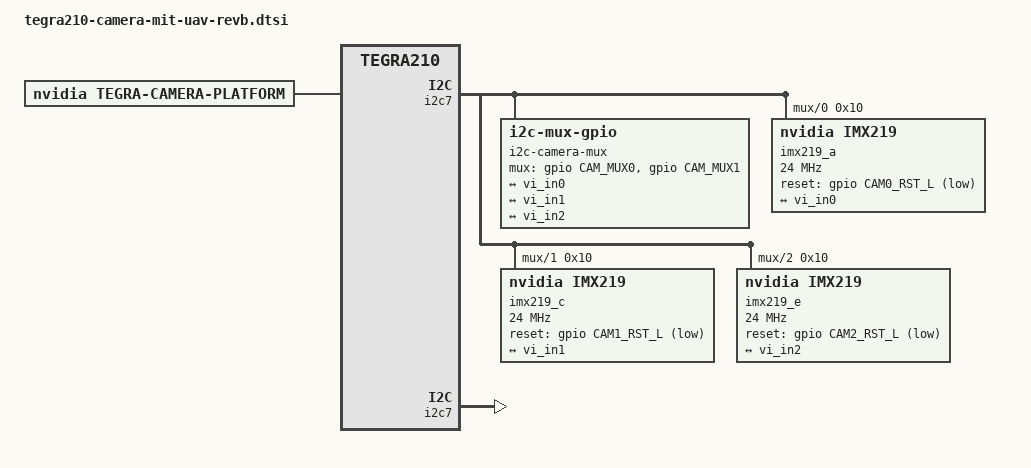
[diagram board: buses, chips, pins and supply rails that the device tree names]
/*
 * Copyright (c) 2015-2016, NVIDIA CORPORATION.  All rights reserved.
 *
 * This program is free software; you can redistribute it and/or modify
 * it under the terms of the GNU General Public License as published by
 * the Free Software Foundation; either version 2 of the License, or
 * (at your option) any later version.
 *
 * This program is distributed in the hope that it will be useful, but WITHOUT
 * ANY WARRANTY; without even the implied warranty of MERCHANTABILITY or
 * FITNESS FOR A PARTICULAR PURPOSE.  See the GNU General Public License for
 * more details.
 *
 * You should have received a copy of the GNU General Public License
 * along with this program.  If not, see <http://www.gnu.org/licenses/>.
 */

#include <dt-bindings/media/camera.h>
#include <dt-bindings/platform/t210/t210.h>

#define GANG_MODE_L_R 1
#define GANG_MODE_T_B 2
#define GANG_MODE_R_L 3
#define GANG_MODE_B_T 4

#define CAM0_RST_L  TEGRA_GPIO(S, 7)
#define CAM1_RST_L  TEGRA_GPIO(T, 0)
#define CAM2_RST_L  TEGRA_GPIO(S, 4)

#define CAM_MUX0    TEGRA_GPIO(T, 1)
#define CAM_MUX1    TEGRA_GPIO(S, 6)

//GPIOs
/ {
  /* set camera gpio direction to output */
  gpio: gpio@6000d000 {
    camera-control {
      gpio-output-low = <
                        CAM0_RST_L
                        CAM1_RST_L
                        CAM2_RST_L
                        CAM_MUX0
                        CAM_MUX1
                        >;
    };
  };
};


/ {
  host1x {
    vi_base: vi {
      num-channels = <3>;
      ports {
        #address-cells = <1>;
        #size-cells = <0>;
        vi_port0: port@0 {
          status = "okay";
          reg = <0>;
          vi_in0: endpoint {
            status = "okay";
            csi-port = <0>;
            bus-width = <2>;
            remote-endpoint = <&imx219_out0>;
          };
        };
        vi_port1: port@1 {
          status = "okay";
          reg = <1>;
          vi_in1: endpoint {
            status = "okay";
            csi-port = <2>;
            bus-width = <2>;
            remote-endpoint = <&imx219_out1>;
          };
        };
        vi_port2: port@2 {
          status = "okay";
          reg = <2>;
          vi_in2: endpoint {
            status = "okay";
            csi-port = <4>;
            bus-width = <2>;
            remote-endpoint = <&imx219_out2>;
          };
        };
      };
    };

    i2c-camera-mux {
			status = "okay";
      compatible = "i2c-mux-gpio";
      #address-cells = <1>;
	    #size-cells = <0>;
      mux-gpios     = < &gpio CAM_MUX0 GPIO_ACTIVE_HIGH
                        &gpio CAM_MUX1 GPIO_ACTIVE_HIGH>;
      //i2c-parent = <&i2c@546c0000>;
      i2c-parent = <&i2c7>;
      i2c@0 {
        status = "okay";
        reg = <0>;
        #address-cells = <1>;
        #size-cells = <0>;
        imx219_a@10 {
          compatible = "nvidia,imx219";
          devnode="video0";
          // I2C Device Address
          reg = <0x10>;
          reset-gpios = <&gpio CAM0_RST_L GPIO_ACTIVE_LOW>;

          //Physical Dimenstion of sensor
          physical_w = "5.095";
          physical_h = "4.930";

          //Sensor Model
          sensor_model ="imx219";

          //avdd-reg = "vana";
          //iovdd-reg = "vif";
          //dvdd-reg = "vdig";
          clocks = <&tegra_car TEGRA210_CLK_ID_CLK_OUT_3>;
          clock-names = "mclk";
          clock-frequency = <24000000>;
          mclk = "cam_mclk1";

          post_crop_frame_drop = "0";

          mode0 { // IMX219_MODE_1920X1080
            mclk_khz = "24000";
            mclk_multiplier = "25";
            //pix_clk_hz = "182400000";
            pix_clk_hz = "170000000";

            num_lanes = "2";
            tegra_sinterface = "serial_a";
            discontinuous_clk = "yes";
            cil_settletime = "0";
            pixel_t = "bayer_rggb";
            readout_orientation = "90";
            inherent_gain = "1";

            active_w = "1920";
            active_h = "1080";

            line_length = "3448";
            dpcm_enable = "false";

            min_gain_val = "1";
            max_gain_val = "16";
            min_hdr_ratio = "1";
            max_hdr_ratio = "64";
            min_framerate = "1";
            max_framerate = "30";
            min_exp_time = "13";
            max_exp_time = "683709";
            //embedded_metadata_height = "2";
          };
          mode1 { // IMX219_MODE_1280X720
            mclk_khz = "24000";
            mclk_multiplier = "25";
            pix_clk_hz = "170000000";

            num_lanes = "2";
            tegra_sinterface = "serial_a";
            discontinuous_clk = "yes";
            cil_settletime = "0";
            pixel_t = "bayer_rggb";
            readout_orientation = "90";
            inherent_gain = "1";

            active_w = "1280";
            active_h = "720";

            line_length = "3448";
            dpcm_enable = "false";
            //line_length = "1752";
            min_gain_val = "1";
            max_gain_val = "16";
            min_hdr_ratio = "1";
            max_hdr_ratio = "64";
            min_framerate = "1";
            max_framerate = "60";
            //min_exp_time = "16";
            min_exp_time = "13";
            max_exp_time = "683709";
            //embedded_metadata_height = "2";
          };
          mode2 { // IMX219_MODE_640X480

            //mclk_khz = "47000";
            mclk_khz = "24000";
            mclk_multiplier = "17.0";
            //pix_clk_hz = "182400000";
            pix_clk_hz = "170000000";

            num_lanes = "2";
            tegra_sinterface = "serial_a";
            discontinuous_clk = "yes";
            cil_settletime = "0";
            pixel_t = "bayer_rggb";
            readout_orientation = "90";
            inherent_gain = "0";

            active_w = "640";
            active_h = "480";

            //line_length = "752";
            //line_length = "1752";
            line_length = "3448";
            //line_length = "3559";
            dpcm_enable = "false";
            min_gain_val = "1";
            max_gain_val = "16";
            min_hdr_ratio = "1";
            max_hdr_ratio = "64";
            min_framerate = "1";
            max_framerate = "90";
            min_exp_time = "22";
					  max_exp_time = "358733";
            //embedded_metadata_height = "2";
          };

          ports {
            #address-cells = <1>;
            #size-cells = <0>;

            port@0 {
              reg = <0>;
              imx219_out0: endpoint {
                csi-port = <0>;
                bus-width = <2>;
                remote-endpoint = <&vi_in0>;
              };
            };
          };
        };
      };
      i2c@1 {
        status = "okay";
        reg = <1>;
        #address-cells = <1>;
        #size-cells = <0>;
        imx219_c@10 {
          compatible = "nvidia,imx219";
          devnode="video1";
          // I2C Device Address
          reg = <0x10>;
          reset-gpios = <&gpio CAM1_RST_L GPIO_ACTIVE_LOW>;

          //Physical Dimenstion of sensor
          physical_w = "5.095";
          physical_h = "4.930";

          //Sensor Model
          sensor_model ="imx219";

          //avdd-reg = "vana";
          //iovdd-reg = "vif";
          //dvdd-reg = "vdig";
          clocks = <&tegra_car TEGRA210_CLK_ID_CLK_OUT_3>;
				  clock-names = "mclk";
          clock-frequency = <24000000>;
          mclk = "cam_mclk1";

          post_crop_frame_drop = "0";

          mode0 { // IMX219_MODE_1920X1080
            mclk_khz = "24000";
            mclk_multiplier = "25";
            //pix_clk_hz = "182400000";
            pix_clk_hz = "170000000";

            num_lanes = "2";
            tegra_sinterface = "serial_c";
            discontinuous_clk = "yes";
            cil_settletime = "0";
            pixel_t = "bayer_rggb";
            readout_orientation = "270";
            inherent_gain = "1";

            active_w = "1920";
            active_h = "1080";

            line_length = "3448";
            dpcm_enable = "false";
            min_gain_val = "1";
            max_gain_val = "16";
            min_hdr_ratio = "1";
            max_hdr_ratio = "64";
            min_framerate = "1";
            max_framerate = "30";
            min_exp_time = "13";
            max_exp_time = "683709";
            //embedded_metadata_height = "2";
          };
          mode1 { // IMX219_MODE_1280X720
            mclk_khz = "24000";
            mclk_multiplier = "25";
            pix_clk_hz = "170000000";

            num_lanes = "2";
            tegra_sinterface = "serial_c";
            discontinuous_clk = "yes";
            cil_settletime = "0";
            pixel_t = "bayer_rggb";
            readout_orientation = "270";
            inherent_gain = "1";

            active_w = "1280";
            active_h = "720";

            line_length = "3448";
            dpcm_enable = "false";
            //line_length = "1752";
            min_gain_val = "1";
            max_gain_val = "16";
            min_hdr_ratio = "1";
            max_hdr_ratio = "64";
            min_framerate = "1";
            max_framerate = "60";
            //min_exp_time = "16";
            min_exp_time = "13";
            max_exp_time = "683709";
            //embedded_metadata_height = "2";
          };
          mode2 { // IMX219_MODE_640X480

            //mclk_khz = "47000";
            mclk_khz = "24000";
            mclk_multiplier = "17.0";
            //pix_clk_hz = "182400000";
            pix_clk_hz = "170000000";

            num_lanes = "2";
            tegra_sinterface = "serial_c";
            discontinuous_clk = "yes";
            cil_settletime = "0";
            pixel_t = "bayer_rggb";
            readout_orientation = "270";
            inherent_gain = "0";

            active_w = "640";
            active_h = "480";

            //line_length = "752";
            //line_length = "1752";
            line_length = "3448";
            //line_length = "3559";
            dpcm_enable = "false";
            min_gain_val = "1";
            max_gain_val = "16";
            min_hdr_ratio = "1";
            max_hdr_ratio = "64";
            min_framerate = "1";
            max_framerate = "90";
            min_exp_time = "22";
					  max_exp_time = "358733";
            //embedded_metadata_height = "2";
          };

          ports {
            #address-cells = <1>;
            #size-cells = <0>;

            port@0 {
              reg = <0>;
              imx219_out1: endpoint {
                csi-port = <2>;
                bus-width = <2>;
                remote-endpoint = <&vi_in1>;
              };
            };
          };
        };
      };
      i2c@2 {
        status = "okay";
        reg = <2>;
        #address-cells = <1>;
        #size-cells = <0>;
        imx219_e@10 {
          compatible = "nvidia,imx219";
          devnode="video2";
          // I2C Device Address
          reg = <0x10>;
          reset-gpios = <&gpio CAM2_RST_L GPIO_ACTIVE_LOW>;

          //Physical Dimenstion of sensor
          physical_w = "5.095";
          physical_h = "4.930";

          //Sensor Model
          sensor_model ="imx219";

          //avdd-reg = "vana";
          //iovdd-reg = "vif";
          //dvdd-reg = "vdig";
          clocks = <&tegra_car TEGRA210_CLK_ID_CLK_OUT_3>;
				  clock-names = "mclk";
          clock-frequency = <24000000>;
          mclk = "cam_mclk1";

          post_crop_frame_drop = "0";

          mode0 { // IMX219_MODE_1920X1080
            mclk_khz = "24000";
            mclk_multiplier = "25";
            //pix_clk_hz = "182400000";
            pix_clk_hz = "170000000";

            num_lanes = "2";
            tegra_sinterface = "serial_e";
            discontinuous_clk = "yes";
            cil_settletime = "0";
            pixel_t = "bayer_rggb";
            readout_orientation = "270";
            inherent_gain = "1";

            active_w = "1920";
            active_h = "1080";

            line_length = "3448";
            dpcm_enable = "false";
            min_gain_val = "1";
            max_gain_val = "16";
            min_hdr_ratio = "1";
            max_hdr_ratio = "64";
            min_framerate = "1";
            max_framerate = "30";
            min_exp_time = "13";
            max_exp_time = "683709";
            //embedded_metadata_height = "2";
          };
          mode1 { // IMX219_MODE_1280X720
            mclk_khz = "24000";
            mclk_multiplier = "25";
            pix_clk_hz = "170000000";

            num_lanes = "2";
            tegra_sinterface = "serial_e";
            discontinuous_clk = "yes";
            cil_settletime = "0";
            pixel_t = "bayer_rggb";
            readout_orientation = "270";
            inherent_gain = "1";

            active_w = "1280";
            active_h = "720";

            line_length = "3448";
            dpcm_enable = "false";
            //line_length = "1752";
            min_gain_val = "1";
            max_gain_val = "16";
            min_hdr_ratio = "1";
            max_hdr_ratio = "64";
            min_framerate = "1";
            max_framerate = "60";
            //min_exp_time = "16";
            min_exp_time = "13";
            max_exp_time = "683709";
            //embedded_metadata_height = "2";
          };
          mode2 { // IMX219_MODE_640X480

            //mclk_khz = "47000";
            mclk_khz = "24000";
            mclk_multiplier = "17.0";
            //pix_clk_hz = "182400000";
            pix_clk_hz = "170000000";

            num_lanes = "2";
            tegra_sinterface = "serial_e";
            discontinuous_clk = "yes";
            cil_settletime = "0";
            pixel_t = "bayer_rggb";
            readout_orientation = "270";
            inherent_gain = "0";

            active_w = "640";
            active_h = "480";

            //line_length = "752";
            //line_length = "1752";
            line_length = "3448";
            //line_length = "3559";
            dpcm_enable = "false";
            min_gain_val = "1";
            max_gain_val = "16";
            min_hdr_ratio = "1";
            max_hdr_ratio = "64";
            min_framerate = "1";
            max_framerate = "90";
            min_exp_time = "22";
					  max_exp_time = "358733";
            //embedded_metadata_height = "2";
          };

          ports {
            #address-cells = <1>;
            #size-cells = <0>;

            port@0 {
              reg = <0>;
              imx219_out2: endpoint {
                csi-port = <4>;
                bus-width = <2>;
                remote-endpoint = <&vi_in2>;
              };
            };
          };
        };
      };
    };
		i2c7: i2c@546c0000 {
      status = "okay";
    };
  };
};

/ {
  tegra-camera-platform {
		/**
		* Physical settings to calculate max ISO BW
		*
		* num_csi_lanes = <>;
		* Total number of CSI lanes when all cameras are active
		*
		* max_lane_speed = <>;
		* Max lane speed in Kbit/s
		*
		* min_bits_per_pixel = <>;
		* Min bits per pixel
		*
		* vi_peak_byte_per_pixel = <>;
		* Max byte per pixel for the VI ISO case
		*
		* vi_bw_margin_pct = <>;
		* Vi bandwidth margin in percentage
		*
		* isp_peak_byte_per_pixel = <>;
		* Max byte per pixel for the ISP ISO case
		*
		* isp_bw_margin_pct = <>;
		* Isp bandwidth margin in percentage
		*/

    compatible = "nvidia, tegra-camera-platform";
		num_csi_lanes = <6>;
		max_lane_speed = <1500000>;
		min_bits_per_pixel = <10>;
		vi_peak_byte_per_pixel = <2>;
		vi_bw_margin_pct = <25>;
		max_pixel_rate = <170000>;
		isp_peak_byte_per_pixel = <2>;
		isp_bw_margin_pct = <25>;


    /**
    * The general guideline for naming badge_info contains 3 parts, and is as follows,
    * The first part is the camera_board_id for the module; if the module is in a FFD
    * platform, then use the platform name for this part.
    * The second part contains the position of the module, ex. “rear” or “front”.
    * The third part contains the last 6 characters of a part number which is found
    * in the module's specsheet from the vender.
    */
    modules {
      cam_module0: module0 {
        status = "okay";
        badge = "uav_back_imx219";
        position = "rear";
        orientation = "0";
        cam_module0_drivernode0: drivernode0 {
          /* Declare PCL support driver (classically known as guid)  */
          pcl_id = "v4l2_sensor";
          /* Driver's v4l2 device name */
          devname = "imx219 7-0010";
          /* Declare the device-tree hierarchy to driver instance */
          proc-device-tree = "/proc/device-tree/host1x/i2c-camera-mux/i2c@0/imx219_a@10";
          status = "okay";
        };
      };

      cam_module1: module1 {
        status = "okay";
        badge = "uav_frontright_imx219";
        position = "topright";
        orientation = "1";
        cam_module1_drivernode0: drivernode0 {
          /* Declare PCL support driver (classically known as guid)  */
          pcl_id = "v4l2_sensor";
          /* Driver's v4l2 device name */
          devname = "imx219 8-0010";
          /* Declare the device-tree hierarchy to driver instance */
          proc-device-tree = "/proc/device-tree/host1x/i2c-camera-mux/i2c@1/imx219_c@10";
          status = "okay";
        };
      };

      cam_module2: module2 {
        status = "okay";
        badge = "uav_frontleft_imx219";
        position = "topleft";
        orientation = "1";
        cam_module2_drivernode0: drivernode0 {
          /* Declare PCL support driver (classically known as guid)  */
          pcl_id = "v4l2_sensor";
          /* Driver's v4l2 device name */
          devname = "imx219 9-0010";
          /* Declare the device-tree hierarchy to driver instance */
          proc-device-tree = "/proc/device-tree/host1x/i2c-camera-mux/i2c@2/imx219_e@10";
          status = "okay";
        };
      };
    };
  };
};
